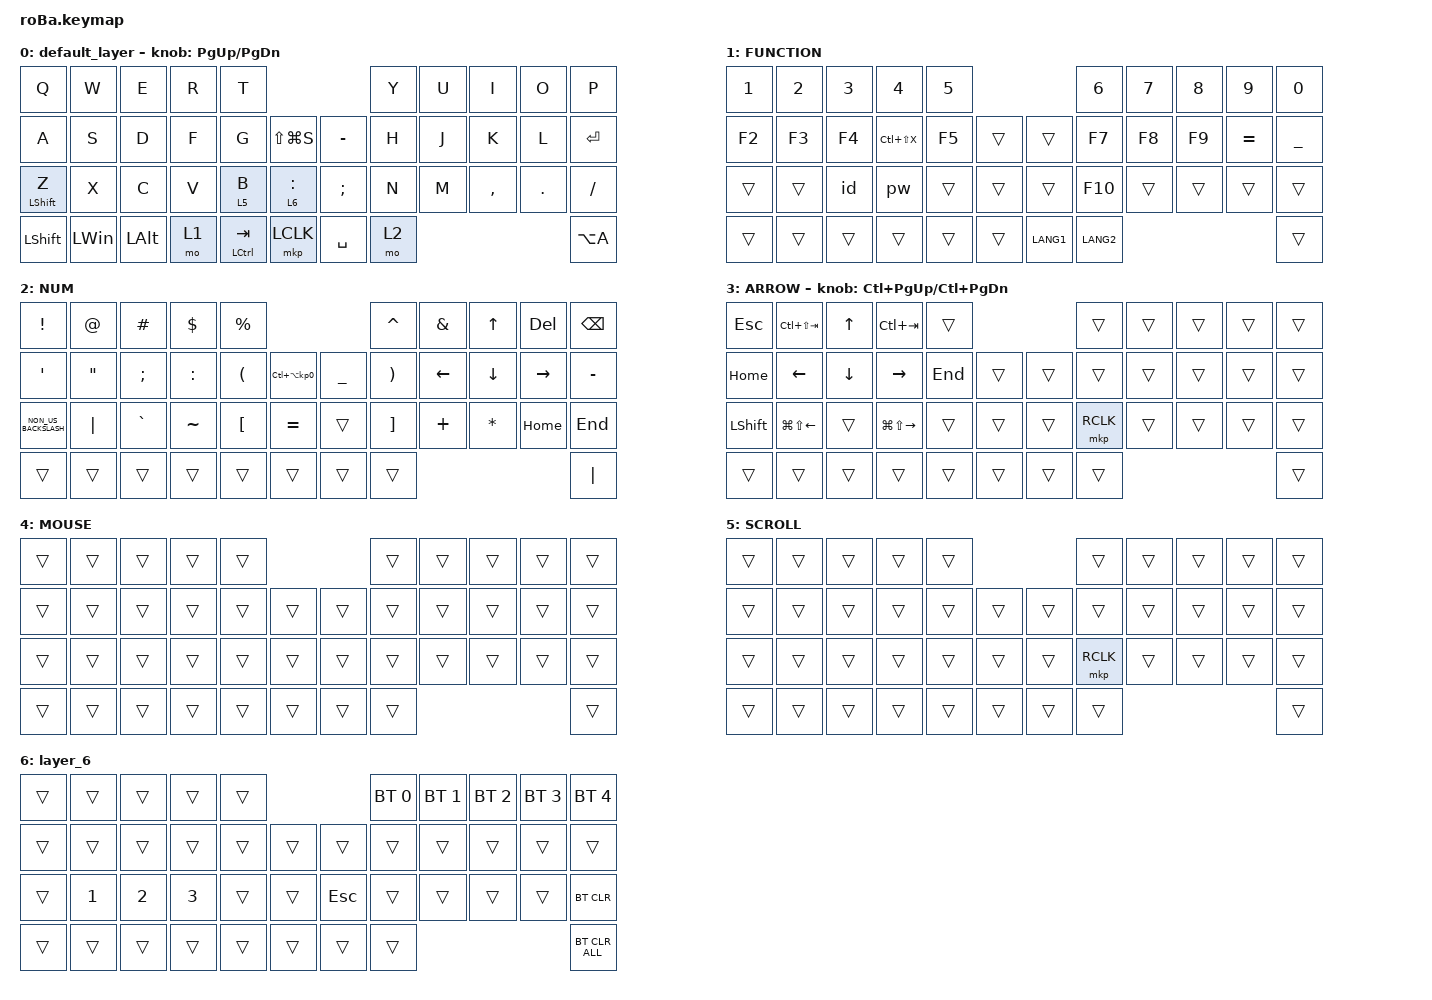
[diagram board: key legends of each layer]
#include <behaviors.dtsi>
#include <dt-bindings/zmk/bt.h>
#include <dt-bindings/zmk/keys.h>
#include <dt-bindings/zmk/pointing.h>

&mt {
    flavor = "balanced";
    quick-tap-ms = <0>;
};

&trackball {
    automouse-layer = <4>;
    scroll-layers = <5>;

    // arrows {
    //     layers = <3>;
    //     bindings =
    //         <&kp RIGHT_ARROW>,
    //         <&kp LEFT_ARROW>,
    //         <&kp UP_ARROW>,
    //         <&kp DOWN_ARROW>;
    //     tick = <10>;
    //     wait-ms = <5>;
    //     tap-ms = <5>;
    // };
};

/ {
    combos {
        compatible = "zmk,combos";

        tab {
            bindings = <&kp TAB>;
            key-positions = <11 12>;
        };

        shift_tab {
            bindings = <&kp LS(TAB)>;
            key-positions = <12 13>;
        };

        muhennkann {
            bindings = <&to_layer_0 INT_MUHENKAN>;
            key-positions = <11 10>;
        };

        double_quotation {
            bindings = <&kp DOUBLE_QUOTES>;
            key-positions = <20 21>;
        };

        eq {
            bindings = <&kp EQUAL>;
            key-positions = <24 25>;
        };
    };

    macros {
        to_layer_0: to_layer_0 {
            compatible = "zmk,behavior-macro-one-param";
            #binding-cells = <1>;
            bindings = <&to 0 &macro_param_1to1 &kp MACRO_PLACEHOLDER>;
            label = "TO_LAYER_0";
        };

        id: id {
            compatible = "zmk,behavior-macro";
            #binding-cells = <0>;
            bindings = <&kp NUMBER_0 &kp NUMBER_0 &kp NUMBER_0 &kp NUMBER_0 &kp NUMBER_0 &kp NUMBER_1 &kp NUMBER_8 &kp NUMBER_2 &kp NUMBER_6 &kp NUMBER_0 &kp NUMBER_0 &kp NUMBER_4 &kp NUMBER_9>;
            label = "ID";
        };

        pw: pw {
            compatible = "zmk,behavior-macro";
            #binding-cells = <0>;
            bindings = <&kp N &kp NUMBER_0 &kp B &kp NUMBER_1 &kp T &kp LS(NUMBER_2) &kp LS(K) &kp U &kp N>;
            label = "PW";
        };
    };

    behaviors {
        lt_to_layer_0: lt_to_layer_0 {
            compatible = "zmk,behavior-hold-tap";
            label = "LAYER_TAP_TO_0";
            bindings = <&mo>, <&to_layer_0>;

            #binding-cells = <2>;
            tapping-term-ms = <200>;
        };
    };

    keymap {
        compatible = "zmk,keymap";

        default_layer {
            bindings = <
&kp Q             &kp W         &kp E         &kp R  &kp T                                            &kp Y  &kp U  &kp I      &kp O    &kp P
&kp A             &kp S         &kp D         &kp F  &kp G          &kp LS(LG(S))      &kp MINUS      &kp H  &kp J  &kp K      &kp L    &kp ENTER
&mt LEFT_SHIFT Z  &kp X         &kp C         &kp V  &lt 5 B        &lt 6 COLON        &kp SEMICOLON  &kp N  &kp M  &kp COMMA  &kp DOT  &kp SLASH
&kp LSHIFT        &kp LEFT_WIN  &kp LEFT_ALT  &mo 1  &mt LCTRL TAB  &mkp LCLK          &kp SPACE      &mo 2                             &kp LA(A)
            >;

            sensor-bindings = <&inc_dec_kp PG_UP PAGE_DOWN>;
        };

        FUNCTION {
            bindings = <
&kp NUMBER_1  &kp NUMBER_2  &kp NUMBER_3  &kp NUMBER_4   &kp NUMBER_5                         &kp NUMBER_6  &kp N7  &kp N8  &kp N9     &kp N0
&kp F2        &kp F3        &kp F4        &kp LC(LS(X))  &kp F5        &trans      &trans     &kp F7        &kp F8  &kp F9  &kp EQUAL  &kp UNDERSCORE
&trans        &trans        &id           &pw            &trans        &trans      &trans     &kp F10       &trans  &trans  &trans     &trans
&trans        &trans        &trans        &trans         &trans        &trans      &kp LANG1  &kp LANG2                                &trans
            >;
        };

        NUM {
            bindings = <
&kp EXCLAMATION       &kp AT_SIGN        &kp HASH       &kp DOLLAR  &kp PERCENT                                                        &kp CARET              &kp AMPERSAND   &kp UP_ARROW  &kp DELETE  &kp BACKSPACE
&kp SQT               &kp DOUBLE_QUOTES  &kp SEMICOLON  &kp COLON   &kp LEFT_PARENTHESIS  &kp LC(LA(KP_NUMBER_0))      &kp UNDERSCORE  &kp RIGHT_PARENTHESIS  &kp LEFT_ARROW  &kp DOWN      &kp RIGHT   &kp MINUS
&kp NON_US_BACKSLASH  &kp PIPE           &kp GRAVE      &kp TILDE   &kp LEFT_BRACKET      &kp EQUAL                    &trans          &kp RIGHT_BRACKET      &kp PLUS        &kp ASTERISK  &kp HOME    &kp END
&trans                &trans             &trans         &trans      &trans                &trans                       &trans          &trans                                                           &kp PIPE
            >;
        };

        ARROW {
            bindings = <
&kp ESCAPE      &kp LC(LS(TAB))         &kp UP_ARROW    &kp LC(TAB)              &trans                       &trans     &trans  &trans  &trans  &trans
&kp HOME        &kp LEFT_ARROW          &kp DOWN_ARROW  &kp RIGHT_ARROW          &kp END  &trans      &trans  &trans     &trans  &trans  &trans  &trans
&kp LEFT_SHIFT  &kp LG(LS(LEFT_ARROW))  &trans          &kp LG(LS(RIGHT_ARROW))  &trans   &trans      &trans  &mkp RCLK  &trans  &trans  &trans  &trans
&trans          &trans                  &trans          &trans                   &trans   &trans      &trans  &trans                             &trans
            >;

            sensor-bindings = <&inc_dec_kp LC(PAGE_UP) LC(PAGE_DOWN)>;
        };

        MOUSE {
            bindings = <
&trans  &trans  &trans  &trans  &trans                      &trans  &trans  &trans  &trans  &trans
&trans  &trans  &trans  &trans  &trans  &trans      &trans  &trans  &trans  &trans  &trans  &trans
&trans  &trans  &trans  &trans  &trans  &trans      &trans  &trans  &trans  &trans  &trans  &trans
&trans  &trans  &trans  &trans  &trans  &trans      &trans  &trans                          &trans
            >;
        };

        SCROLL {
            bindings = <
&trans  &trans  &trans  &trans  &trans                      &trans     &trans  &trans  &trans  &trans
&trans  &trans  &trans  &trans  &trans  &trans      &trans  &trans     &trans  &trans  &trans  &trans
&trans  &trans  &trans  &trans  &trans  &trans      &trans  &mkp RCLK  &trans  &trans  &trans  &trans
&trans  &trans  &trans  &trans  &trans  &trans      &trans  &trans                             &trans
            >;
        };

        layer_6 {
            bindings = <
&trans  &trans        &trans        &trans        &trans                       &bt BT_SEL 0  &bt BT_SEL 1  &bt BT_SEL 2  &bt BT_SEL 3  &bt BT_SEL 4
&trans  &trans        &trans        &trans        &trans  &trans      &trans   &trans        &trans        &trans        &trans        &trans
&trans  &kp NUMBER_1  &kp NUMBER_2  &kp NUMBER_3  &trans  &trans      &kp ESC  &trans        &trans        &trans        &trans        &bt BT_CLR
&trans  &trans        &trans        &trans        &trans  &trans      &trans   &trans                                                  &bt BT_CLR_ALL
            >;
        };
    };
};
